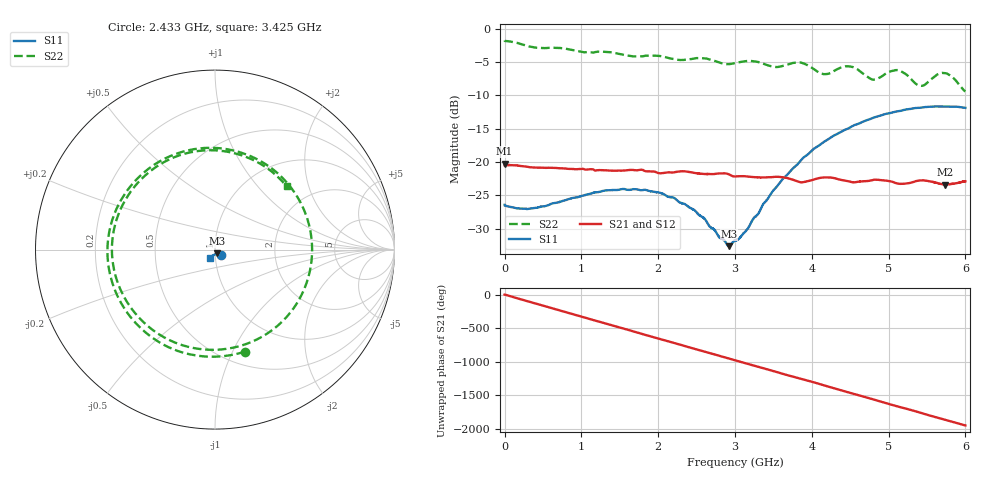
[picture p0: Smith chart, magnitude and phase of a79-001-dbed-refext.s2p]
!  3/19/2021  22:07:10
! Ref Plane: 13.200 mm
# MHZ S MA R  50
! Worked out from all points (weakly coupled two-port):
!   10001 points, 300 kHz to 6 GHz, reference 50 ohm
!   highest |S21| = -20.23 dB at 300 kHz (marker M1); lowest = -23.4 dB at 5.733 GHz (marker M2)
!   lowest |S11| = -32.6 dB at 2.921 GHz (marker M3), VSWR 1.05, Z = 51 - j2.16 ohm
!   |S11| at or under -10 dB: start of sweep to end of sweep
!   |S22| runs from -9.4 to -1.8 dB; largest |S21 - S12| = 0.0023
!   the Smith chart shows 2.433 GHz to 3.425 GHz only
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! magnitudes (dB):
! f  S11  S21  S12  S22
! 300 kHz  -26.4  -20.2  -20.4  -1.8
! 314.1 MHz  -27.0  -20.7  -20.7  -2.6
! 1 GHz  -25.1  -21.0  -21.0  -3.5
! 1.537 GHz  -24.0  -21.3  -21.3  -3.9
! 2.001 GHz  -24.6  -21.7  -21.7  -4.1
! 2.469 GHz  -27.2  -21.6  -21.7  -4.5
! 2.921 GHz  -32.6  -21.8  -21.9  -5.3
! 3 GHz  -31.8  -22.2  -22.2  -5.2
! 3.153 GHz  -30.2  -22.2  -22.2  -4.8
! 3.615 GHz  -22.6  -22.3  -22.3  -5.6
! 3.84 GHz  -20.0  -23.0  -23.0  -5.1
! 4 GHz  -18.3  -22.7  -22.7  -5.9
! 4.178 GHz  -16.8  -22.3  -22.3  -6.8
! 4.508 GHz  -14.8  -23.0  -23.0  -5.7
! 4.801 GHz  -13.4  -22.7  -22.7  -7.6
! 5 GHz  -12.7  -22.8  -22.9  -6.5
! 5.154 GHz  -12.3  -23.3  -23.3  -6.3
! 5.423 GHz  -11.8  -22.8  -22.7  -8.6
! 5.64 GHz  -11.7  -23.2  -23.2  -6.8
! 5.733 GHz  -11.7  -23.4  -23.4  -6.6
! 5.833 GHz  -11.7  -23.3  -23.3  -7.3
! 6 GHz  -11.9  -22.9  -22.9  -9.4
